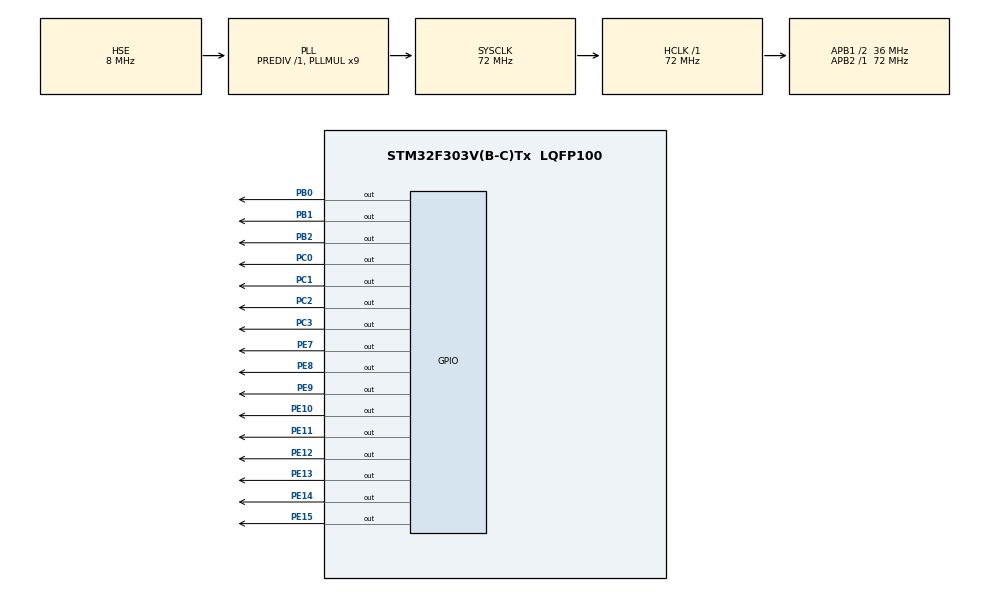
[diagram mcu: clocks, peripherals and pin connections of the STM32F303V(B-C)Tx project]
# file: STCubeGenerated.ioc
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Mcu.Family=STM32F3
Mcu.Name=STM32F303V(B-C)Tx
Mcu.Package=LQFP100
NVIC.PriorityGroup=NVIC_PRIORITYGROUP_4
PB0.Signal=GPIO_Output
PB1.Signal=GPIO_Output
PB2.Signal=GPIO_Output
PC0.Signal=GPIO_Output
PC1.Signal=GPIO_Output
PC2.Signal=GPIO_Output
PC3.Signal=GPIO_Output
PE10.Signal=GPIO_Output
PE11.Signal=GPIO_Output
PE12.Signal=GPIO_Output
PE13.Signal=GPIO_Output
PE14.Signal=GPIO_Output
PE15.Signal=GPIO_Output
PE7.Signal=GPIO_Output
PE8.Signal=GPIO_Output
PE9.Signal=GPIO_Output
PF0-OSC_IN.Mode=HSE-External-Clock-Source
PF0-OSC_IN.Signal=RCC_OSC_IN
ProjectManager.HeapSize=0x200
ProjectManager.StackSize=0x400
ProjectManager.TargetToolchain=MDK-ARM V5
RCC.AHBFreq_Value=72000000
RCC.APB1CLKDivider=RCC_HCLK_DIV2
RCC.APB1Freq_Value=36000000
RCC.APB1TimFreq_Value=72000000
RCC.APB2Freq_Value=72000000
RCC.APB2TimFreq_Value=72000000
RCC.CortexFreq_Value=72000000
RCC.HCLKFreq_Value=72000000
RCC.HSE_VALUE=8000000
RCC.HSI_VALUE=8000000
RCC.LSE_VALUE=32768
RCC.PLLMUL=RCC_PLL_MUL9
RCC.PLLSourceVirtual=RCC_PLLSOURCE_HSE
RCC.SYSCLKFreq_VALUE=72000000
RCC.SYSCLKSourceVirtual=RCC_SYSCLKSOURCE_PLLCLK
RCC.USBFreq_Value=72000000
board=custom

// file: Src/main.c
/* USER CODE BEGIN Header */
/**
  ******************************************************************************
  * @file           : main.c
  * @brief          : Main program body
  ******************************************************************************
  * @attention
  *
  * <h2><center>&copy; Copyright (c) 2019 STMicroelectronics.
  * All rights reserved.</center></h2>
  *
  * This software component is licensed by ST under BSD 3-Clause license,
  * the "License"; You may not use this file except in compliance with the
  * License. You may obtain a copy of the License at:
  *                        opensource.org/licenses/BSD-3-Clause
  *
  ******************************************************************************
  */
/* USER CODE END Header */

#include "main.h"

/* USER CODE BEGIN Includes */
#include "cmsis_os2.h"                  // ::CMSIS:RTOS2
#include "st_fake_tick.h"
#include "koibitoex_lcd2.h"
/* USER CODE END Includes */

void SystemClock_Config(void);
static void MX_GPIO_Init(void);
/* USER CODE BEGIN PFP */
static void LedThread1(void * argument);
static void LedThread2(void * argument);
static void LcdThread(void * argument);
/* USER CODE END PFP */

/* USER CODE BEGIN 0 */
uint8_t count;
osThreadId_t tid_LedThread1;
osThreadId_t tid_LedThread2;
osThreadId_t tid_LcdThread;
const osThreadAttr_t LedThread2_attr =
{
	.priority = osPriorityAboveNormal
};
/* USER CODE END 0 */

int main(void)
{

  /* MCU Configuration--------------------------------------------------------*/

  /* Reset of all peripherals, Initializes the Flash interface and the Systick. */
  HAL_Init();

  /* Configure the system clock */
  SystemClock_Config();

  /* USER CODE BEGIN SysInit */
	osKernelInitialize();
  /* USER CODE END SysInit */

  /* Initialize all configured peripherals */
  MX_GPIO_Init();
  /* USER CODE BEGIN 2 */
	StFakeTickInit();
	tid_LedThread1 = osThreadNew(LedThread1, NULL, NULL);
	if(tid_LedThread1 == NULL){
			return (-1);
	}

	tid_LedThread2 = osThreadNew(LedThread2, NULL, &LedThread2_attr);
	if(tid_LedThread2 == NULL){
			return (-1);
	}

	tid_LcdThread = osThreadNew(LcdThread, NULL, NULL);
	if(tid_LcdThread == NULL){
			return (-1);
	}
	osKernelStart();
  /* USER CODE END 2 */

  /* Infinite loop */
  while (1)
  {

  }
}

void SystemClock_Config(void)
{
  RCC_OscInitTypeDef RCC_OscInitStruct = {0};
  RCC_ClkInitTypeDef RCC_ClkInitStruct = {0};

  /** Initializes the CPU, AHB and APB busses clocks
  */
  RCC_OscInitStruct.OscillatorType = RCC_OSCILLATORTYPE_HSE;
  RCC_OscInitStruct.HSEState = RCC_HSE_BYPASS;
  RCC_OscInitStruct.HSEPredivValue = RCC_HSE_PREDIV_DIV1;
  RCC_OscInitStruct.HSIState = RCC_HSI_ON;
  RCC_OscInitStruct.PLL.PLLState = RCC_PLL_ON;
  RCC_OscInitStruct.PLL.PLLSource = RCC_PLLSOURCE_HSE;
  RCC_OscInitStruct.PLL.PLLMUL = RCC_PLL_MUL9;
  if (HAL_RCC_OscConfig(&RCC_OscInitStruct) != HAL_OK)
  {
    Error_Handler();
  }
  /** Initializes the CPU, AHB and APB busses clocks
  */
  RCC_ClkInitStruct.ClockType = RCC_CLOCKTYPE_HCLK|RCC_CLOCKTYPE_SYSCLK
                              |RCC_CLOCKTYPE_PCLK1|RCC_CLOCKTYPE_PCLK2;
  RCC_ClkInitStruct.SYSCLKSource = RCC_SYSCLKSOURCE_PLLCLK;
  RCC_ClkInitStruct.AHBCLKDivider = RCC_SYSCLK_DIV1;
  RCC_ClkInitStruct.APB1CLKDivider = RCC_HCLK_DIV2;
  RCC_ClkInitStruct.APB2CLKDivider = RCC_HCLK_DIV1;

  if (HAL_RCC_ClockConfig(&RCC_ClkInitStruct, FLASH_LATENCY_2) != HAL_OK)
  {
    Error_Handler();
  }
}

static void MX_GPIO_Init(void)
{
  GPIO_InitTypeDef GPIO_InitStruct = {0};

  /* GPIO Ports Clock Enable */
  __HAL_RCC_GPIOF_CLK_ENABLE();
  __HAL_RCC_GPIOC_CLK_ENABLE();
  __HAL_RCC_GPIOB_CLK_ENABLE();
  __HAL_RCC_GPIOE_CLK_ENABLE();

  /*Configure GPIO pin Output Level */
  HAL_GPIO_WritePin(GPIOC, GPIO_PIN_0|GPIO_PIN_1|GPIO_PIN_2|GPIO_PIN_3, GPIO_PIN_RESET);

  /*Configure GPIO pin Output Level */
  HAL_GPIO_WritePin(GPIOB, GPIO_PIN_0|GPIO_PIN_1|GPIO_PIN_2, GPIO_PIN_RESET);

  /*Configure GPIO pin Output Level */
  HAL_GPIO_WritePin(GPIOE, GPIO_PIN_7|GPIO_PIN_8|GPIO_PIN_9|GPIO_PIN_10
                          |GPIO_PIN_11|GPIO_PIN_12|GPIO_PIN_13|GPIO_PIN_14
                          |GPIO_PIN_15, GPIO_PIN_RESET);

  /*Configure GPIO pins : PC0 PC1 PC2 PC3 */
  GPIO_InitStruct.Pin = GPIO_PIN_0|GPIO_PIN_1|GPIO_PIN_2|GPIO_PIN_3;
  GPIO_InitStruct.Mode = GPIO_MODE_OUTPUT_PP;
  GPIO_InitStruct.Pull = GPIO_NOPULL;
  GPIO_InitStruct.Speed = GPIO_SPEED_FREQ_LOW;
  HAL_GPIO_Init(GPIOC, &GPIO_InitStruct);

  /*Configure GPIO pins : PB0 PB1 PB2 */
  GPIO_InitStruct.Pin = GPIO_PIN_0|GPIO_PIN_1|GPIO_PIN_2;
  GPIO_InitStruct.Mode = GPIO_MODE_OUTPUT_PP;
  GPIO_InitStruct.Pull = GPIO_NOPULL;
  GPIO_InitStruct.Speed = GPIO_SPEED_FREQ_LOW;
  HAL_GPIO_Init(GPIOB, &GPIO_InitStruct);

  /*Configure GPIO pins : PE7 PE8 PE9 PE10
                           PE11 PE12 PE13 PE14
                           PE15 */
  GPIO_InitStruct.Pin = GPIO_PIN_7|GPIO_PIN_8|GPIO_PIN_9|GPIO_PIN_10
                          |GPIO_PIN_11|GPIO_PIN_12|GPIO_PIN_13|GPIO_PIN_14
                          |GPIO_PIN_15;
  GPIO_InitStruct.Mode = GPIO_MODE_OUTPUT_PP;
  GPIO_InitStruct.Pull = GPIO_NOPULL;
  GPIO_InitStruct.Speed = GPIO_SPEED_FREQ_LOW;
  HAL_GPIO_Init(GPIOE, &GPIO_InitStruct);

}

/* USER CODE BEGIN 4 */
static void LedThread1(void * argument){
	while(1){
		HAL_GPIO_TogglePin(GPIOE, GPIO_PIN_8);
		osDelay(200);
	}
}

static void LedThread2(void * argument){
	while(1){
		HAL_GPIO_TogglePin(GPIOE, GPIO_PIN_9);
		osDelay(375);
	}
}

static void LcdThread(void * argument){
	uint8_t str[20];
	LcdInit();
	LcdCls(LCD_CLS_ALL);
	LcdSetBackLight(LCD_BACKLIGHT_ON);
	LcdSetCursor(LCD_CURSOR_OFF);
	while(1){
		sprintf((char *)str,"COUNT = %03d",count);
		LcdSetPosition(LCD_LINE_1, 0);
		LcdPutS(str);
		count++;
		osDelay(200);
	}
}
/* USER CODE END 4 */

void Error_Handler(void)
{
}

/************************ (C) COPYRIGHT STMicroelectronics *****END OF FILE****/
